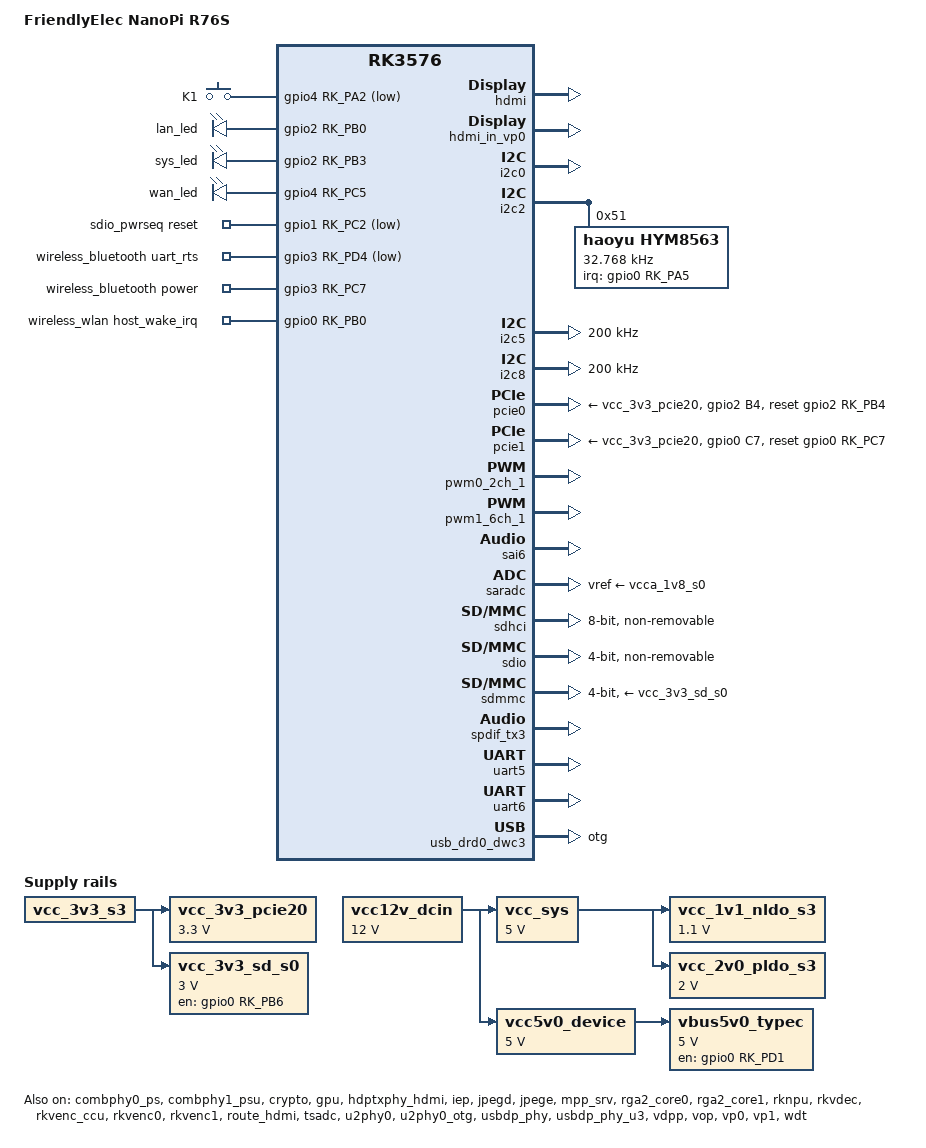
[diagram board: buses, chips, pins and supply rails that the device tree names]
// SPDX-License-Identifier: (GPL-2.0+ OR MIT)

/dts-v1/;

#include <dt-bindings/gpio/gpio.h>
#include <dt-bindings/pwm/pwm.h>
#include <dt-bindings/pinctrl/rockchip.h>
#include <dt-bindings/input/rk-input.h>
#include <dt-bindings/display/drm_mipi_dsi.h>
#include <dt-bindings/display/rockchip_vop.h>
#include <dt-bindings/usb/pd.h>
#include "rk3576.dtsi"
#include "rk3576-rk806.dtsi"
#include "rk3576-linux.dtsi"

/ {
	model = "FriendlyElec NanoPi R76S";
	compatible = "friendlyelec,nanopi-r76s", "rockchip,rk3576";

	/delete-node/ chosen;

	aliases {
		ethernet0 = &r8125_b;
		ethernet1 = &r8125_a;
		mmc0 = &sdmmc;
		mmc1 = &sdio;
		mmc2 = &sdhci;
	};

	gpio_keys: gpio-keys {
		compatible = "gpio-keys";
		pinctrl-names = "default";
		pinctrl-0 = <&key1_pin>;

		button@1 {
			debounce-interval = <50>;
			gpios = <&gpio4 RK_PA2 GPIO_ACTIVE_LOW>;
			label = "K1";
			linux,code = <BTN_1>;
			wakeup-source;
		};
	};

	gpio_leds: gpio-leds {
		compatible = "gpio-leds";

		lan_led: led-1 {
			gpios = <&gpio2 RK_PB0 GPIO_ACTIVE_HIGH>;
			label = "lan_led";
			pinctrl-names = "default";
			pinctrl-0 = <&lan_led_pin>;
		};

		sys_led: led-0 {
			gpios = <&gpio2 RK_PB3 GPIO_ACTIVE_HIGH>;
			label = "sys_led";
			linux,default-trigger = "heartbeat";
			pinctrl-names = "default";
			pinctrl-0 = <&sys_led_pin>;
		};

		wan_led: led-2 {
			gpios = <&gpio4 RK_PC5 GPIO_ACTIVE_HIGH>;
			label = "wan_led";
			pinctrl-names = "default";
			pinctrl-0 = <&wan_led_pin>;
		};
	};

	hdmi_sound: hdmi-sound {
		compatible = "rockchip,hdmi";
		rockchip,mclk-fs = <128>;
		rockchip,card-name = "rockchip,hdmi0";
		rockchip,cpu = <&sai6>;
		rockchip,codec = <&hdmi>;
		rockchip,jack-det;
	};

	sdio_pwrseq: sdio-pwrseq {
		compatible = "mmc-pwrseq-simple";
		pinctrl-names = "default";
		pinctrl-0 = <&wifi_poweren_gpio>;

		/*
		 * On the module itself this is one of these (depending
		 * on the actual card populated):
		 * - SDIO_RESET_L_WL_REG_ON
		 * - PDN (power down when low)
		 */
		post-power-on-delay-ms = <200>;
		reset-gpios = <&gpio1 RK_PC2 GPIO_ACTIVE_LOW>;
	};

	vbus5v0_typec: vbus5v0-typec {
		compatible = "regulator-fixed";
		regulator-name = "vbus5v0_typec";
		regulator-min-microvolt = <5000000>;
		regulator-max-microvolt = <5000000>;
		enable-active-high;
		gpio = <&gpio0 RK_PD1 GPIO_ACTIVE_HIGH>;
		vin-supply = <&vcc5v0_device>;
		pinctrl-names = "default";
		pinctrl-0 = <&usb_otg0_pwren>;
	};

	vcc_1v1_nldo_s3: vcc-1v1-nldo-s3 {
		compatible = "regulator-fixed";
		regulator-name = "vcc_1v1_nldo_s3";
		regulator-boot-on;
		regulator-always-on;
		regulator-min-microvolt = <1100000>;
		regulator-max-microvolt = <1100000>;
		vin-supply = <&vcc_sys>;
	};

	vcc_2v0_pldo_s3: vcc-2v0-pldo-s3 {
		compatible = "regulator-fixed";
		regulator-name = "vcc_2v0_pldo_s3";
		regulator-boot-on;
		regulator-always-on;
		regulator-min-microvolt = <2000000>;
		regulator-max-microvolt = <2000000>;
		vin-supply = <&vcc_sys>;
	};

	vcc_3v3_pcie20: vcc3v3-pcie20 {
		compatible = "regulator-fixed";
		regulator-name = "vcc_3v3_pcie20";
		regulator-always-on;
		regulator-boot-on;
		regulator-min-microvolt = <3300000>;
		regulator-max-microvolt = <3300000>;
		vin-supply = <&vcc_3v3_s3>;
	};

	vcc_3v3_sd_s0: vcc-3v3-sd-s0-regulator {
		compatible = "regulator-fixed";
		enable-active-high;
		gpio = <&gpio0 RK_PB6 GPIO_ACTIVE_HIGH>;
		pinctrl-names = "default";
		pinctrl-0 = <&sd_s0_pwr>;
		regulator-boot-on;
		regulator-max-microvolt = <3000000>;
		regulator-min-microvolt = <3000000>;
		regulator-name = "vcc_3v3_sd_s0";
		vin-supply = <&vcc_3v3_s3>;
	};

	vcc_sys: vcc5v0-sys {
		compatible = "regulator-fixed";
		regulator-name = "vcc_sys";
		regulator-always-on;
		regulator-boot-on;
		regulator-min-microvolt = <5000000>;
		regulator-max-microvolt = <5000000>;
		vin-supply = <&vcc12v_dcin>;
	};

	vcc5v0_device: vcc5v0-device {
		compatible = "regulator-fixed";
		regulator-name = "vcc5v0_device";
		regulator-always-on;
		regulator-boot-on;
		regulator-min-microvolt = <5000000>;
		regulator-max-microvolt = <5000000>;
		vin-supply = <&vcc12v_dcin>;
	};

	vcc12v_dcin: vcc12v-dcin {
		compatible = "regulator-fixed";
		regulator-name = "vcc12v_dcin";
		regulator-always-on;
		regulator-boot-on;
		regulator-min-microvolt = <12000000>;
		regulator-max-microvolt = <12000000>;
	};

	wireless_bluetooth: wireless-bluetooth {
		compatible = "bluetooth-platdata";
		uart_rts_gpios = <&gpio3 RK_PD4 GPIO_ACTIVE_LOW>;
		pinctrl-names = "default", "rts_gpio";
		pinctrl-0 = <&uart5m0_rtsn>;
		pinctrl-1 = <&uart5_gpios>;
		BT,power_gpio = <&gpio3 RK_PC7 GPIO_ACTIVE_HIGH>;
		//BT,wake_gpio = <&gpio3 RK_PD0 GPIO_ACTIVE_HIGH>;
		//BT,wake_host_irq = <&gpio0 RK_PB1 GPIO_ACTIVE_HIGH>;
		status = "okay";
	};

	wireless_wlan: wireless-wlan {
		compatible = "wlan-platdata";
		wifi_chip_type = "rtl8822cs";
		pinctrl-names = "default";
		pinctrl-0 = <&wifi_host_wake_irq>;
		WIFI,host_wake_irq = <&gpio0 RK_PB0 GPIO_ACTIVE_HIGH>;
		status = "okay";
	};
};

&combphy0_ps {
	status = "okay";
	phy-supply = <&vcca_3v3_s0>;
};

&combphy1_psu {
	status = "okay";
	phy-supply = <&vcca_3v3_s0>;
};

&cpu_b0 {
	cpu-supply = <&vdd_cpu_big_s0>;
};

&cpu_l0 {
	cpu-supply = <&vdd_cpu_lit_s0>;
};

&crypto {
	status = "okay";
};

&display_subsystem {
	clocks = <&hdptxphy_hdmi>;
	clock-names = "hdmi0_phy_pll";
};

&gpio4 {
	gpio-line-names =
		"", "",
		"", "PIN_03",
		"PIN_04 [UART6_TX_M0]", "PIN_05",
		"PIN_06 [UART6_RX_M0]", "PIN_07",
		"", "", "", "",
		"", "", "", "",
		"", "", "", "",
		"", "", "", "",
		"", "", "", "",
		"", "", "", "";
};

&gpu {
	mali-supply = <&vdd_gpu_s0>;
	status = "okay";
};

&hdmi {
	status = "okay";
	cec-enable;
	enable-gpios = <&gpio4 RK_PC6 GPIO_ACTIVE_HIGH>;
	rockchip,sda-falling-delay-ns = <360>;
	avdd-0v9-supply = <&vdda0v75_hdmi_s0>;
	avdd-1v8-supply = <&vcca_1v8_s0>;
};

&hdmi_in_vp0 {
	status = "okay";
};

&hdptxphy_hdmi {
	status = "okay";
	phy-supply = <&vdda_0v85_s0>;
};

&i2c0 {
	pinctrl-0 = <&i2c0m1_xfer>;
	status = "okay";
};

&i2c2 {
	status = "okay";

	hym8563: hym8563@51 {
		compatible = "haoyu,hym8563";
		reg = <0x51>;
		#clock-cells = <0>;
		clock-frequency = <32768>;
		clock-output-names = "hym8563";
		pinctrl-names = "default";
		pinctrl-0 = <&hym8563_int>;
		interrupt-parent = <&gpio0>;
		interrupts = <RK_PA5 IRQ_TYPE_LEVEL_LOW>;
		wakeup-source;
	};
};

&i2c5 {
	status = "okay";
	clock-frequency = <200000>;
	pinctrl-0 = <&i2c5m3_xfer>;
};

&i2c8 {
	clock-frequency = <200000>;
	pinctrl-0 = <&i2c8m2_xfer>;
};

&iep {
	status = "okay";
};

&iep_mmu {
	status = "okay";
};

&jpeg_mmu {
	status = "okay";
};

&jpegd {
	status = "okay";
};

&jpege {
	status = "okay";
};

&mpp_srv {
	status = "okay";
};

&pcie0 {
	status = "okay";
	pinctrl-0 = <&pcie0_reset_gpio>;
	reset-gpios = <&gpio2 RK_PB4 GPIO_ACTIVE_HIGH>;
	rockchip,init-delay-ms = <100>;
	rockchip,skip-scan-in-resume;
	rockchip,skip-hw-retry;
	rockchip,wait-for-link-ms = <1000>;
	vpcie3v3-supply = <&vcc_3v3_pcie20>;

	pcie@0,0 {
		reg = <0x00000000 0 0 0 0>;
		#address-cells = <3>;
		#size-cells = <2>;

		r8125_a: pcie@0,0 {
			reg = <0x000000 0 0 0 0>;
			local-mac-address = [ 00 00 00 00 00 00 ];
		};
	};
};

&pcie1 {
	status = "okay";
	pinctrl-names = "default";
	pinctrl-0 = <&pcie1_reset_gpio>;
	reset-gpios = <&gpio0 RK_PC7 GPIO_ACTIVE_HIGH>;
	rockchip,skip-scan-in-resume;
	rockchip,skip-hw-retry;
	rockchip,wait-for-link-ms = <1000>;
	vpcie3v3-supply = <&vcc_3v3_pcie20>;

	pcie@0,0 {
		reg = <0x00200000 0 0 0 0>;
		#address-cells = <3>;
		#size-cells = <2>;

		r8125_b: pcie@20,0 {
			reg = <0x000000 0 0 0 0>;
			local-mac-address = [ 00 00 00 00 00 00 ];
		};
	};
};

&pinctrl {
	gpio-key {
		key1_pin: key1-pin {
			rockchip,pins = <4 RK_PA2 RK_FUNC_GPIO &pcfg_pull_up>;
		};
	};

	gpio-leds {
		lan_led_pin: lan-led-pin {
			rockchip,pins = <2 RK_PB0 RK_FUNC_GPIO &pcfg_pull_none>;
		};

		sys_led_pin: sys-led-pin {
			rockchip,pins = <2 RK_PB3 RK_FUNC_GPIO &pcfg_pull_none>;
		};

		wan_led_pin: wan-led-pin {
			rockchip,pins = <4 RK_PC5 RK_FUNC_GPIO &pcfg_pull_none>;
		};
	};

	hym8563 {
		hym8563_int: hym8563-int {
			rockchip,pins = <0 RK_PA5 RK_FUNC_GPIO &pcfg_pull_up>;
		};
	};

	pcie {
		pcie0_reset_gpio: pcie0-reset-gpio {
			rockchip,pins = <2 RK_PB4 RK_FUNC_GPIO &pcfg_pull_none>;
		};

		pcie1_reset_gpio: pcie1-reset-gpio {
			rockchip,pins = <0 RK_PC7 RK_FUNC_GPIO &pcfg_pull_none>;
		};
	};

	sdmmc {
		sd_s0_pwr: sd-s0-pwr {
			rockchip,pins = <0 RK_PB6 RK_FUNC_GPIO &pcfg_pull_up>;
		};
	};

	usb {
		usb_host_pwren: usb-host-pwren {
			rockchip,pins = <0 RK_PC7 RK_FUNC_GPIO &pcfg_pull_none>;
		};

		usb_otg0_pwren: usb-otg0-pwren {
			rockchip,pins = <0 RK_PD1 RK_FUNC_GPIO &pcfg_pull_none>;
		};
	};

	wireless-bluetooth {
		uart5_gpios: uart5-gpios {
			rockchip,pins = <3 RK_PD6 RK_FUNC_GPIO &pcfg_pull_none>;
		};
	};

	wireless-wlan {
		wifi_host_wake_irq: wifi-host-wake-irq {
			rockchip,pins = <0 RK_PB0 RK_FUNC_GPIO &pcfg_pull_down>;
		};

		wifi_poweren_gpio: wifi-poweren-gpio {
			rockchip,pins = <1 RK_PC2 RK_FUNC_GPIO &pcfg_pull_up>;
		};
	};
};

&pwm0_2ch_1 {
	status = "okay";
};

&pwm1_6ch_1 {
	status = "okay";
	pinctrl-0 = <&pwm1m0_ch1>;
};

&rga2_core0 {
	status = "okay";
};

&rga2_core0_mmu {
	status = "okay";
};

&rga2_core1 {
	status = "okay";
};

&rga2_core1_mmu {
	status = "okay";
};

&rknpu {
	rknpu-supply = <&vdd_npu_s0>;
	status = "okay";
};

&rknpu_mmu {
	status = "okay";
};

&rkvdec {
	status = "okay";
};

&rkvdec_mmu {
	status = "okay";
};

&rkvenc_ccu {
	status = "okay";
};

&rkvenc0 {
	status = "okay";
};

&rkvenc0_mmu {
	status = "okay";
};

&rkvenc1 {
	status = "okay";
};

&rkvenc1_mmu {
	status = "okay";
};

&rockchip_suspend {
	status = "okay";
	rockchip,sleep-debug-en = <1>;
	rockchip,sleep-io-ret-config = <
		(0
		| RKPM_VCCIO3_RET_EN
		)
	>;
	rockchip,regulator-on-before-mem = <&vdd_npu_s0>;
};

&route_hdmi {
	status = "okay";
	connect = <&vp0_out_hdmi>;
};

&sai6 {
	status = "okay";
};

&saradc {
	status = "okay";
	vref-supply = <&vcca_1v8_s0>;
};

&sdhci {
	bus-width = <8>;
	no-sdio;
	no-sd;
	non-removable;
	max-frequency = <200000000>;
	mmc-hs400-1_8v;
	mmc-hs400-enhanced-strobe;
	full-pwr-cycle-in-suspend;
	status = "okay";
};

&sdio {
	max-frequency = <200000000>;
	no-sd;
	no-mmc;
	bus-width = <4>;
	disable-wp;
	cap-sd-highspeed;
	cap-sdio-irq;
	keep-power-in-suspend;
	mmc-pwrseq = <&sdio_pwrseq>;
	non-removable;
	pinctrl-names = "default";
	pinctrl-0 = <&sdmmc1m0_bus4 &sdmmc1m0_clk &sdmmc1m0_cmd>;
	sd-uhs-sdr50;
	sd-uhs-sdr104;
	status = "okay";
};

&sdmmc {
	max-frequency = <200000000>;
	no-sdio;
	no-mmc;
	bus-width = <4>;
	cap-mmc-highspeed;
	cap-sd-highspeed;
	disable-wp;
	sd-uhs-sdr104;
	vmmc-supply = <&vcc_3v3_sd_s0>;
	vqmmc-supply = <&vccio_sd_s0>;
	pinctrl-names = "default";
	pinctrl-0 = <&sdmmc0_clk &sdmmc0_cmd &sdmmc0_det &sdmmc0_bus4>;
	status = "okay";
};

&spdif_tx3 {
	status = "okay";
};

&tsadc {
	status = "okay";
};

&u2phy0 {
	status = "okay";
	phy-supply = <&vcca_3v3_s0>;
};

&u2phy0_otg {
	status = "okay";
	phy-supply = <&vbus5v0_typec>;
};

&uart5 {
	pinctrl-names = "default";
	pinctrl-0 = <&uart5m0_xfer &uart5m0_ctsn>;
	status = "okay";
};

&uart6 {
	status = "okay";
};

&usbdp_phy {
	status = "okay";
	phy-supply = <&vcca_3v3_s0>;
};

&usbdp_phy_u3 {
	status = "okay";
	phy-supply = <&vcca_3v3_s0>;
};

&usb_drd0_dwc3 {
	dr_mode = "otg";
	extcon = <&u2phy0>;
	status = "okay";
};

&vdpp {
	status = "okay";
};

&vop {
	status = "okay";
	vop-supply = <&vdd_logic_s0>;
};

&vop_mmu {
	status = "okay";
};

&vp0 {
	status = "okay";
};

&vp1 {
	status = "okay";
};

&wdt {
	status = "okay";
};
